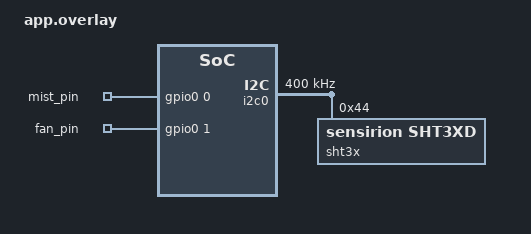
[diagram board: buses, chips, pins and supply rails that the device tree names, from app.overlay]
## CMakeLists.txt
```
# SPDX-License-Identifier: Apache-2.0

cmake_minimum_required(VERSION 3.20.0)
find_package(Zephyr REQUIRED HINTS $ENV{ZEPHYR_BASE})
project(terrarium_sensors)

target_sources(app PRIVATE
    src/main.c
)
```

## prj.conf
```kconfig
CONFIG_LOG=y
CONFIG_GPIO=y

CONFIG_I2C=y
CONFIG_SENSOR=y
CONFIG_CBPRINTF_FP_SUPPORT=y

CONFIG_BT=y
CONFIG_BT_BROADCASTER=y
CONFIG_BT_DEVICE_NAME="sensordevice0"

# Fixed random static address so the receiver can filter on it.
# Top two bits of first octet must be 11 (i.e. first octet C0-FF).
# CONFIG_BT_DEVICE_ADDRESS_RANDOM=y
# CONFIG_BT_DEVICE_ADDRESS="de:ad:be:ef:00:01"
```

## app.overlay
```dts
/ {
    mist: mist {
        compatible = "gpio-leds";
        mist_pin: mist_pin {
            gpios = <&gpio0 0 GPIO_ACTIVE_HIGH>;
        };
    };

    fan: fan {
        compatible = "gpio-leds";
        fan_pin: fan_pin {
            gpios = <&gpio0 1 GPIO_ACTIVE_HIGH>;
        };
    };
};



&pinctrl {
    i2c0_default: i2c0_default {
        group1 {
            pinmux = <I2C0_SDA_GPIO8>, <I2C0_SCL_GPIO9>;
            bias-pull-up;
            drive-open-drain;
            output-high;
        };
    };
};

&i2c0 {
    status = "okay";
    clock-frequency = <I2C_BITRATE_FAST>;
    pinctrl-0 = <&i2c0_default>;
    pinctrl-names = "default";

    sht3x: sht3x@44 {
        compatible = "sensirion,sht3xd";
        reg = <0x44>;
    };
};
```

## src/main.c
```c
#include <stdio.h>
#include <stdint.h>
#include <string.h>

#include <zephyr/kernel.h>
#include <zephyr/device.h>
#include <zephyr/devicetree.h>

#include <zephyr/sys/util.h>
#include <zephyr/sys/byteorder.h>
#include <zephyr/drivers/sensor.h>
#include <zephyr/drivers/gpio.h>

#include <zephyr/bluetooth/gap.h>
#include <zephyr/bluetooth/addr.h>
#include <zephyr/bluetooth/bluetooth.h>
#include <zephyr/bluetooth/assigned_numbers.h>

#include <zephyr/logging/log.h>
#include <zephyr/logging/log_core.h>

LOG_MODULE_REGISTER(main, LOG_LEVEL_INF);


#define TEMP_HIGH 26.0
#define TEMP_LOW  22.0
#define HUM_HIGH 60.0
#define HUM_LOW 50.0
#define HUM_EXTREME 80.0
#define TEMP_TOOLOW 16.0

static void poll_sensor();
static void check_run_hum();
static void get_sensor_update();
static void check_run_modules(double temp, double hum);
static void encode_double_le(double val, uint8_t *out);

#define TOGGLE_NODE DT_ALIAS(toggle_gpio)

const struct device *const sth_sensor = DEVICE_DT_GET(DT_NODELABEL(sht3x));
static const struct gpio_dt_spec mist_pin = GPIO_DT_SPEC_GET(DT_NODELABEL(mist_pin), gpios);
static const struct gpio_dt_spec fan_pin = GPIO_DT_SPEC_GET(DT_NODELABEL(fan_pin), gpios);

struct sensor_value temp, hum;

/* 0xFFFF is reserved by the Bluetooth SIG for internal/test use, not a real
 * vendor ID. Fine here since this is a private link and nothing else needs
 * to identify the packet by company ID. Swap for a real ID if that changes. */
#define MFG_ID 0xFFFF

/* company id (2 bytes) + 2x double (16 bytes) */
#define MFG_DATA_LEN (2 + 16)
static uint8_t mfg_data[MFG_DATA_LEN];

static const struct bt_data ad[] = {
    BT_DATA_BYTES(BT_DATA_FLAGS, BT_LE_AD_NO_BREDR),
    BT_DATA(BT_DATA_MANUFACTURER_DATA, mfg_data, sizeof(mfg_data)),
};
 

int64_t last_hum = 0;

int main (void)
{
    int err;
    bt_addr_le_t addr;
    LOG_INF("5");
    k_sleep(K_SECONDS(1));

    LOG_INF("4");
    k_sleep(K_SECONDS(1));

    LOG_INF("3");
    k_sleep(K_SECONDS(1));

    LOG_INF("2");
    k_sleep(K_SECONDS(1));

    LOG_INF("1");
    k_sleep(K_SECONDS(1));

    if (!(err = device_is_ready(sth_sensor))) {
        LOG_ERR("Device %s is not ready! (err: %d)", sth_sensor->name, err);
        return -1;
    }

    // gpt
    if (!gpio_is_ready_dt(&mist_pin)) {
        LOG_ERR("gpio0 device not ready");
        return 0;
    }
    err = gpio_pin_configure_dt(&mist_pin, GPIO_OUTPUT_INACTIVE);
    if (err < 0) {
        LOG_ERR("Failed to configure pin (err %d)", err);
        return 0;
    }

    err = gpio_pin_configure_dt(&fan_pin, GPIO_OUTPUT_INACTIVE);
    if (err < 0) {
        LOG_ERR("Failed to configure pin (err %d)", err);
        return 0;
    }

    if ((err = bt_addr_le_from_str("de:ad:be:ef:00:01", "random", &addr)))
    {
        LOG_ERR("Invalid address string! (err: %d)", err);
        return -2;
    }

    if ((err = bt_id_create(&addr, NULL)) < 0)
    {
        LOG_ERR("Creating bt identity failed! (err: %d))", err);
        return -1;
    }

    get_sensor_update();

    if ((err = bt_enable(NULL)) != 0)
    {
        LOG_ERR("Failed to start bt advertising! (err: %d)", err);
        return -1;
    }

    err = bt_le_adv_start(BT_LE_ADV_PARAM(BT_LE_ADV_OPT_USE_IDENTITY,
                                 BT_GAP_ADV_FAST_INT_MIN_2,
                                 BT_GAP_ADV_FAST_INT_MAX_2,
                                 NULL),
                 ad, ARRAY_SIZE(ad), NULL, 0);
    if (err) {
        LOG_ERR("Advertising failed to start! (err %d)", err);
        return 0;
    }

    LOG_INF("Broadcasting started!");

    while (true)
    {
        k_sleep(K_SECONDS(1));

        get_sensor_update();

        if ((err = bt_le_adv_update_data(ad, ARRAY_SIZE(ad), NULL, 0)) != 0)
            LOG_ERR("Failed to update advertising packet! (err: %d)", err);

        // This is all temporary code that should be redone
        double dhum = sensor_value_to_double(&hum);
        double dtemp = sensor_value_to_double(&temp)-2;

        // temp doesn't seem to be nearly accurate
        check_run_modules(dtemp, dhum);

        LOG_INF("Temp: %.2f  | HUM: %0.2f%% RH", dtemp, dhum);
    }
}


static void poll_sensor()
{
    int rc;
    rc = sensor_sample_fetch(sth_sensor);
    if (rc == 0)
    {
        rc = sensor_channel_get(sth_sensor, SENSOR_CHAN_AMBIENT_TEMP, &temp);
    }
    if (rc == 0)
    {
        rc = sensor_channel_get(sth_sensor, SENSOR_CHAN_HUMIDITY, &hum);
    }
    if (rc != 0)
    {
        LOG_ERR("Failed to read sensor: %d", rc);
    }
}


/*
 * Bluetooth advertising packets don't have fancy features
 * such as doubles or floats. Instead these functions
 * encode them as a uint64_t.
 */
static void encode_double_le(double val, uint8_t *out)
{
    uint64_t bits;

    memcpy(&bits, &val, sizeof(bits));
    sys_put_le64(bits, out);
}

static void get_sensor_update()
{
    poll_sensor();

    sys_put_le16(MFG_ID, &mfg_data[0]);
    encode_double_le(sensor_value_to_double(&temp), &mfg_data[2]);
    encode_double_le(sensor_value_to_double(&hum), &mfg_data[10]);
}

static void check_run_modules(double temp, double hum)
{
    // temp
    if (temp > TEMP_HIGH)
    {
        LOG_INF("Starting fan (reason: too hot)");
        gpio_pin_set_dt(&fan_pin, 1);
    }
    
    // Unless the humidity is way too high
    // the fan should be turned off when the
    // temp is cold
    if (temp < TEMP_LOW && hum < HUM_EXTREME)
    {
        LOG_INF("Stopping fan (reason: temp low)");
        gpio_pin_set_dt(&fan_pin, 0);
    }


    // Humidity
    // If humidity was run within the last 10 seconds
    // then we can't let it run again. The foam needs
    // time to re-saturate
    if (hum < HUM_LOW && temp > TEMP_TOOLOW)
    {
        check_run_hum();
    }

    // never run the fan if its too cold already
    if (hum > HUM_HIGH && temp > TEMP_LOW)
    {
        LOG_INF("Starting fan (reason: humidity high)");
        gpio_pin_set_dt(&fan_pin, 1);
    }

    if (hum > HUM_EXTREME)
    {
        LOG_INF("Starting fan (reason: humidity extreme)");
        gpio_pin_set_dt(&fan_pin, 1);
    }
}



static void check_run_hum()
{
    int64_t uptime = k_uptime_get() / 1000;
    if ((uptime - last_hum) > 20)
    {
        LOG_INF("Starting humidity");
        gpio_pin_set_dt(&mist_pin, 1);
        k_sleep(K_SECONDS(15));
        gpio_pin_set_dt(&mist_pin, 0);
        LOG_INF("Stopped humidity");
        last_hum = uptime;
    }
}
```
